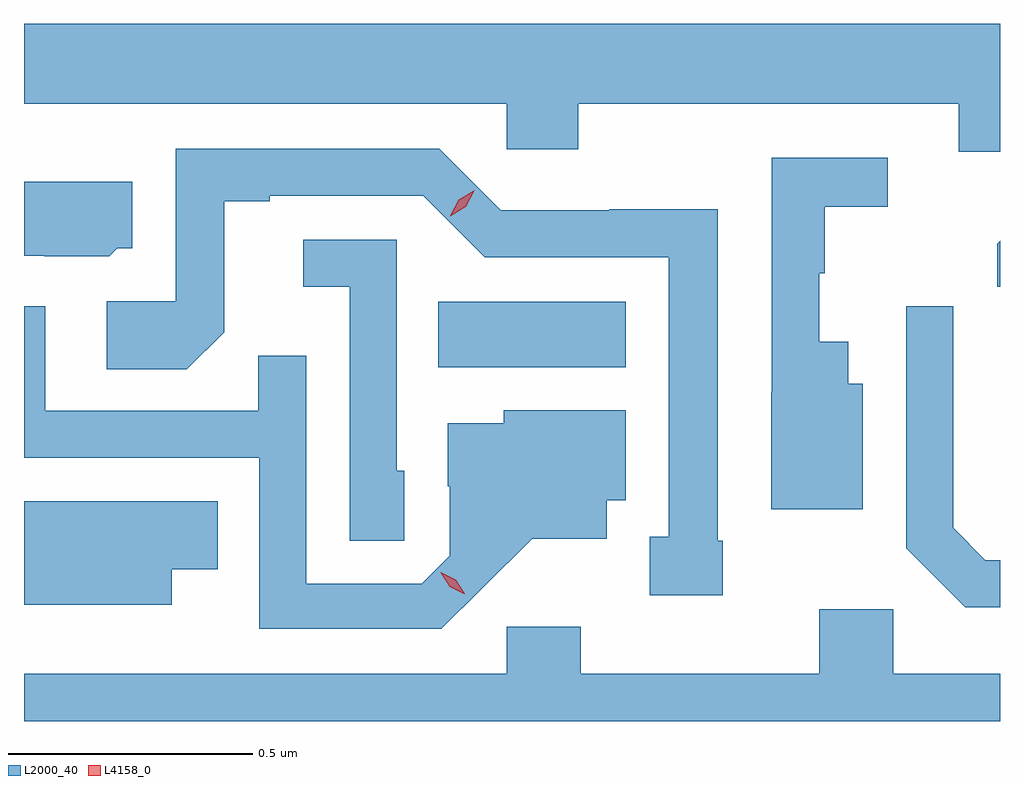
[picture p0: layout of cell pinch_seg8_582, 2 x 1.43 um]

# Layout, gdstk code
import gdstk
lib = gdstk.Library(unit=1e-6, precision=1e-09)
def R(c, l, rs):  # rectangles x0, y0, x1, y1
    for r in rs: c.add(gdstk.rectangle(r[:2], r[2:], *l))
def P(c, l, *ps):  # polygons
    for p in ps: c.add(gdstk.Polygon(p, *l))
L2000_40 = (2000, 40)
L4158_0 = (4158, 0)

pinch_seg8_582 = lib.new_cell('pinch_seg8_582')
R(pinch_seg8_582, L2000_40, [(160.456,1114.628,160.84,1114.762)])
P(pinch_seg8_582, L2000_40, [(161.607,1115.332),(159.607,1115.332),(159.607,1115.168),(160.596,1115.168),(160.596,1115.075),(160.743,1115.075),(160.743,1115.168),(161.522,1115.168),(161.522,1115.07),(161.607,1115.07)],
  [(161.039,1114.273),(161.029,1114.273),(161.029,1114.952),(160.806,1114.952),(160.806,1114.95),(160.584,1114.95),(160.458,1115.076),(159.918,1115.076),(159.918,1114.764),(159.777,1114.764),(159.777,1114.624),(159.941,1114.624),(160.017,1114.7),(160.017,1114.968),(160.111,1114.968),(160.111,1114.98),(160.425,1114.98),(160.551,1114.854),(160.928,1114.854),(160.928,1114.281),(160.889,1114.281),(160.889,1114.161),(161.039,1114.161)],
  [(161.326,1114.594),(161.296,1114.594),(161.296,1114.681),(161.237,1114.681),(161.237,1114.821),(161.248,1114.821),(161.248,1114.957),(161.377,1114.957),(161.377,1115.058),(161.139,1115.058),(161.139,1114.577),(161.138,1114.577),(161.138,1114.337),(161.326,1114.337)],
  [(159.798,1114.872),(159.829,1114.872),(159.829,1115.008),(159.607,1115.008),(159.607,1114.857),(159.648,1114.857),(159.648,1114.856),(159.782,1114.856)],
  [(160.386,1114.416),(160.371,1114.416),(160.371,1114.89),(160.179,1114.89),(160.179,1114.793),(160.275,1114.793),(160.275,1114.273),(160.386,1114.273)],
  [(161.607,1114.887),(161.601,1114.881),(161.601,1114.793),(161.607,1114.793)],
  [(161.607,1114.233),(161.577,1114.233),(161.511,1114.299),(161.511,1114.753),(161.415,1114.753),(161.415,1114.257),(161.536,1114.136),(161.607,1114.136)],
  [(160.546,1114.175),(160.649,1114.277),(160.801,1114.277),(160.801,1114.356),(160.84,1114.356),(160.84,1114.54),(160.59,1114.54),(160.59,1114.513),(160.475,1114.513),(160.475,1114.384),(160.479,1114.384),(160.479,1114.242),(160.422,1114.185),(160.185,1114.185),(160.185,1114.652),(160.087,1114.652),(160.087,1114.539),(159.651,1114.539),(159.651,1114.753),(159.607,1114.753),(159.607,1114.443),(160.089,1114.443),(160.089,1114.092),(160.462,1114.092)],
  [(159.91,1114.214),(160.004,1114.214),(160.004,1114.354),(159.607,1114.354),(159.607,1114.142),(159.91,1114.142)],
  [(161.607,1114),(161.388,1114),(161.388,1114.132),(161.237,1114.132),(161.237,1114),(160.748,1114),(160.748,1114.096),(160.596,1114.096),(160.596,1114),(159.607,1114),(159.607,1113.903),(161.607,1113.903)])
P(pinch_seg8_582, L4158_0, [(160.48,1114.938),(160.48,1114.939),(160.498,1114.971),(160.529,1114.99),(160.53,1114.99),(160.53,1114.99),(160.512,1114.957),(160.48,1114.938)],
  [(160.51,1114.163),(160.479,1114.178),(160.461,1114.207),(160.461,1114.208),(160.461,1114.208),(160.492,1114.193),(160.51,1114.164),(160.51,1114.163)])

lib.write_gds('pinch_seg8_582.gds')
